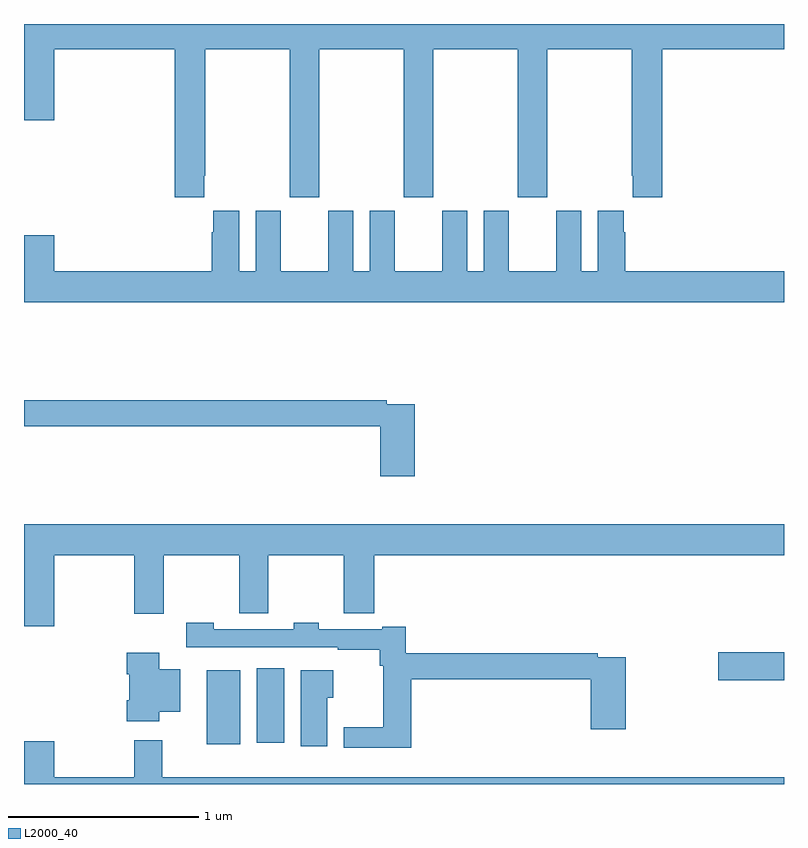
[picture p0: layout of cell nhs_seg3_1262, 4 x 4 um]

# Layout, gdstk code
import gdstk
lib = gdstk.Library(unit=1e-6, precision=1e-09)
def R(c, l, rs):  # rectangles x0, y0, x1, y1
    for r in rs: c.add(gdstk.rectangle(r[:2], r[2:], *l))
def P(c, l, *ps):  # polygons
    for p in ps: c.add(gdstk.Polygon(p, *l))
L2000_40 = (2000, 40)

nhs_seg3_1262 = lib.new_cell('nhs_seg3_1262')
R(nhs_seg3_1262, L2000_40, [(177.962,678.608,178.138,679), (178.226,678.617,178.369,679.009), (180.654,678.947,181,679.094)])
P(nhs_seg3_1262, L2000_40, [(177.949,681.601),(177.954,681.601),(177.954,682.268),(178.399,682.268),(178.399,681.489),(178.554,681.489),(178.554,682.268),(178.999,682.268),(178.999,681.489),(179.154,681.489),(179.154,682.268),(179.599,682.268),(179.599,681.489),(179.754,681.489),(179.754,682.268),(180.199,682.268),(180.199,681.601),(180.203,681.601),(180.203,681.489),(180.359,681.489),(180.359,682.268),(181,682.268),(181,682.4),(177,682.4),(177,681.894),(177.16,681.894),(177.16,682.268),(177.794,682.268),(177.794,681.489),(177.949,681.489)],
  [(181,681.1),(180.164,681.1),(180.164,681.305),(180.157,681.305),(180.157,681.418),(180.02,681.418),(180.02,681.1),(179.932,681.1),(179.932,681.418),(179.801,681.418),(179.801,681.1),(179.551,681.1),(179.551,681.418),(179.42,681.418),(179.42,681.1),(179.332,681.1),(179.332,681.418),(179.201,681.418),(179.201,681.1),(178.951,681.1),(178.951,681.418),(178.82,681.418),(178.82,681.1),(178.732,681.1),(178.732,681.418),(178.601,681.418),(178.601,681.1),(178.351,681.1),(178.351,681.418),(178.22,681.418),(178.22,681.1),(178.132,681.1),(178.132,681.418),(177.995,681.418),(177.995,681.305),(177.989,681.305),(177.989,681.1),(177.16,681.1),(177.16,681.289),(177,681.289),(177,680.936),(181,680.936)],
  [(179.057,680.4),(178.91,680.4),(178.91,680.42),(177,680.42),(177,680.284),(178.874,680.284),(178.874,680.019),(179.057,680.019)],
  [(177.16,679.604),(177.58,679.604),(177.58,679.296),(177.735,679.296),(177.735,679.604),(178.132,679.604),(178.132,679.3),(178.286,679.3),(178.286,679.604),(178.684,679.604),(178.684,679.3),(178.844,679.3),(178.844,679.604),(181,679.604),(181,679.768),(177,679.768),(177,679.23),(177.16,679.23)],
  [(179.039,678.952),(179.984,678.952),(179.984,678.687),(180.167,678.687),(180.167,679.068),(180.02,679.068),(180.02,679.088),(179.009,679.088),(179.009,679.228),(178.886,679.228),(178.886,679.215),(178.551,679.215),(178.551,679.248),(178.419,679.248),(178.419,679.215),(177.999,679.215),(177.999,679.248),(177.855,679.248),(177.855,679.119),(178.651,679.119),(178.651,679.107),(178.873,679.107),(178.873,679.022),(178.892,679.022),(178.892,678.7),(178.683,678.7),(178.683,678.59),(179.039,678.59)],
  [(177.712,678.779),(177.823,678.779),(177.823,679.003),(177.712,679.003),(177.712,679.09),(177.542,679.09),(177.542,678.977),(177.554,678.977),(177.554,678.841),(177.542,678.841),(177.542,678.729),(177.712,678.729)],
  [(178.597,678.853),(178.627,678.853),(178.627,679),(178.457,679),(178.457,678.6),(178.597,678.6)],
  [(181,678.436),(177.727,678.436),(177.727,678.631),(177.58,678.631),(177.58,678.436),(177.16,678.436),(177.16,678.625),(177,678.625),(177,678.4),(181,678.4)])

lib.write_gds('nhs_seg3_1262.gds')
